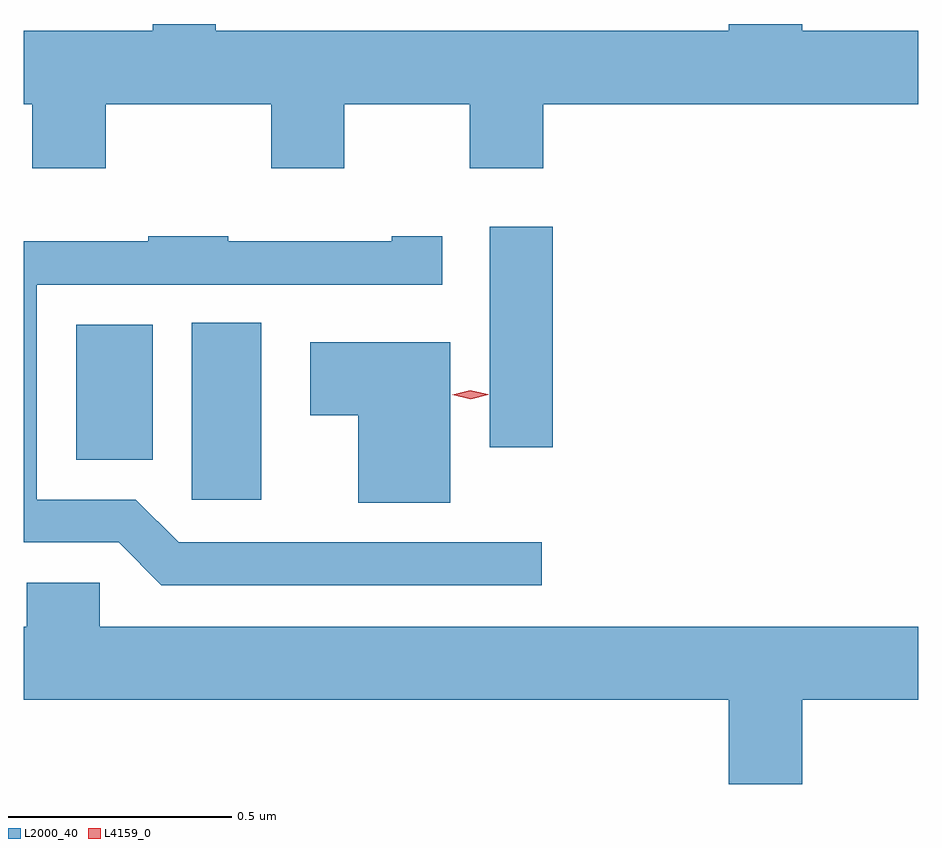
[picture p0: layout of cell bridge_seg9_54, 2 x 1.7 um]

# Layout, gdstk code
import gdstk
lib = gdstk.Library(unit=1e-6, precision=1e-09)
def R(c, l, rs):  # rectangles x0, y0, x1, y1
    for r in rs: c.add(gdstk.rectangle(r[:2], r[2:], *l))
def P(c, l, *ps):  # polygons
    for p in ps: c.add(gdstk.Polygon(p, *l))
L2000_40 = (2000, 40)
L4159_0 = (4159, 0)

bridge_seg9_54 = lib.new_cell('bridge_seg9_54')
R(bridge_seg9_54, L2000_40, [(1098.872,1166.231,1099.027,1166.627), (1098.614,1166.321,1098.784,1166.623), (1099.538,1166.349,1099.679,1166.842)])
P(bridge_seg9_54, L2000_40, [(1098.679,1167.116),(1099.049,1167.116),(1099.049,1166.973),(1099.213,1166.973),(1099.213,1167.116),(1099.493,1167.116),(1099.493,1166.973),(1099.657,1166.973),(1099.657,1167.116),(1100.496,1167.116),(1100.496,1167.28),(1100.236,1167.28),(1100.236,1167.295),(1100.072,1167.295),(1100.072,1167.28),(1098.925,1167.28),(1098.925,1167.295),(1098.785,1167.295),(1098.785,1167.28),(1098.496,1167.28),(1098.496,1167.116),(1098.515,1167.116),(1098.515,1166.973),(1098.679,1166.973)],
  [(1099.654,1166.136),(1098.843,1166.136),(1098.747,1166.232),(1098.525,1166.232),(1098.525,1166.712),(1099.432,1166.712),(1099.432,1166.821),(1099.319,1166.821),(1099.319,1166.809),(1098.953,1166.809),(1098.953,1166.821),(1098.775,1166.821),(1098.775,1166.809),(1098.496,1166.809),(1098.496,1166.136),(1098.708,1166.136),(1098.804,1166.04),(1099.654,1166.04)],
  [(1099.45,1166.584),(1099.137,1166.584),(1099.137,1166.42),(1099.244,1166.42),(1099.244,1166.225),(1099.45,1166.225)],
  [(1100.236,1165.784),(1100.496,1165.784),(1100.496,1165.948),(1098.666,1165.948),(1098.666,1166.046),(1098.503,1166.046),(1098.503,1165.948),(1098.496,1165.948),(1098.496,1165.784),(1100.072,1165.784),(1100.072,1165.596),(1100.236,1165.596)])
P(bridge_seg9_54, L4159_0, [(1099.495,1166.456),(1099.454,1166.466),(1099.454,1166.466),(1099.454,1166.466),(1099.494,1166.476),(1099.535,1166.467),(1099.535,1166.467),(1099.535,1166.466)])

lib.write_gds('bridge_seg9_54.gds')
